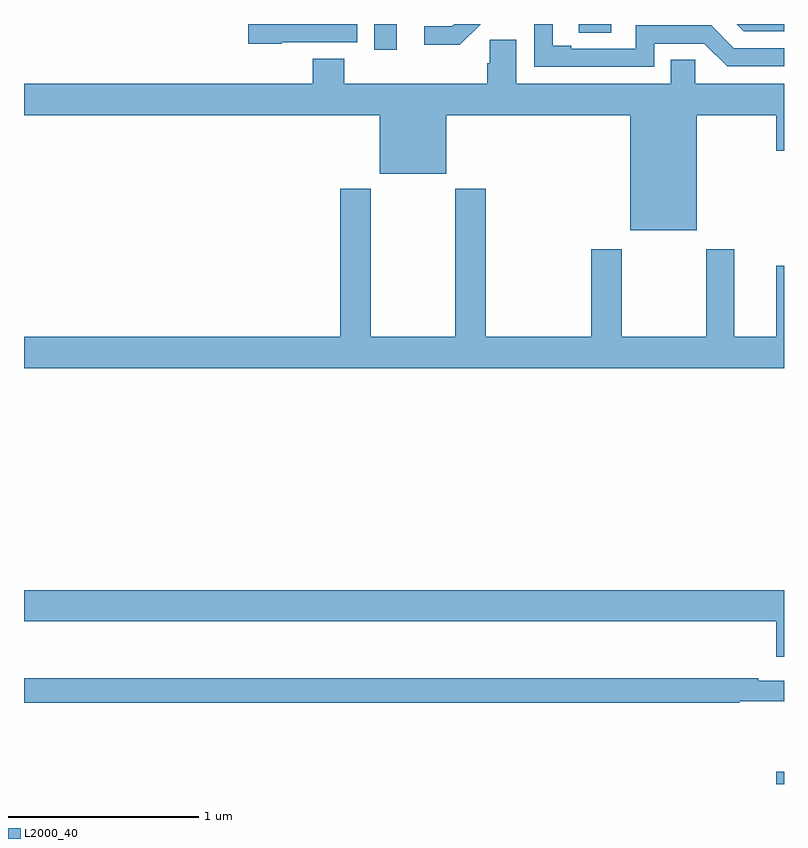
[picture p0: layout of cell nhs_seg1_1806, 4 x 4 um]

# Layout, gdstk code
import gdstk
lib = gdstk.Library(unit=1e-6, precision=1e-09)
def R(c, l, rs):  # rectangles x0, y0, x1, y1
    for r in rs: c.add(gdstk.rectangle(r[:2], r[2:], *l))
def P(c, l, *ps):  # polygons
    for p in ps: c.add(gdstk.Polygon(p, *l))
L2000_40 = (2000, 40)

nhs_seg1_1806 = lib.new_cell('nhs_seg1_1806')
R(nhs_seg1_1806, L2000_40, [(212.96,560.199,213,560.263), (210.843,564.063,210.961,564.199), (211.92,564.154,212.09,564.199)])
P(nhs_seg1_1806, L2000_40, [(210.357,564.102),(210.753,564.102),(210.753,564.199),(210.657,564.199),(210.657,564.198),(210.297,564.198),(210.297,564.199),(210.181,564.199),(210.181,564.095),(210.357,564.095)],
  [(211.405,564.199),(211.264,564.199),(211.251,564.186),(211.107,564.186),(211.107,564.089),(211.294,564.089)],
  [(213,564.199),(212.75,564.199),(212.787,564.162),(213,564.162)],
  [(212.316,564.096),(212.58,564.096),(212.7,563.976),(213,563.976),(213,564.072),(212.736,564.072),(212.616,564.192),(212.22,564.192),(212.22,564.069),(211.879,564.069),(211.879,564.084),(211.783,564.084),(211.783,564.199),(211.686,564.199),(211.686,563.973),(212.316,563.973)],
  [(210.521,564.017),(210.521,563.884),(209,563.884),(209,563.72),(210.872,563.72),(210.872,563.411),(211.222,563.411),(211.222,563.72),(212.192,563.72),(212.192,563.114),(212.542,563.114),(212.542,563.72),(212.96,563.72),(212.96,563.532),(213,563.532),(213,563.884),(212.532,563.884),(212.532,564.011),(212.405,564.011),(212.405,563.884),(211.591,563.884),(211.591,564.116),(211.452,564.116),(211.452,563.993),(211.439,563.993),(211.439,563.884),(210.686,563.884),(210.686,564.017)],
  [(213,562.927),(212.96,562.927),(212.96,562.552),(212.737,562.552),(212.737,563.014),(212.59,563.014),(212.59,562.552),(212.145,562.552),(212.145,563.014),(211.985,563.014),(211.985,562.552),(211.43,562.552),(211.43,563.332),(211.27,563.332),(211.27,562.552),(210.825,562.552),(210.825,563.332),(210.665,563.332),(210.665,562.552),(209,562.552),(209,562.388),(213,562.388)],
  [(213,561.22),(209,561.22),(209,561.056),(212.96,561.056),(212.96,560.868),(213,560.868)],
  [(212.764,560.634),(213,560.634),(213,560.742),(212.864,560.742),(212.864,560.755),(209,560.755),(209,560.626),(212.764,560.626)])

lib.write_gds('nhs_seg1_1806.gds')
